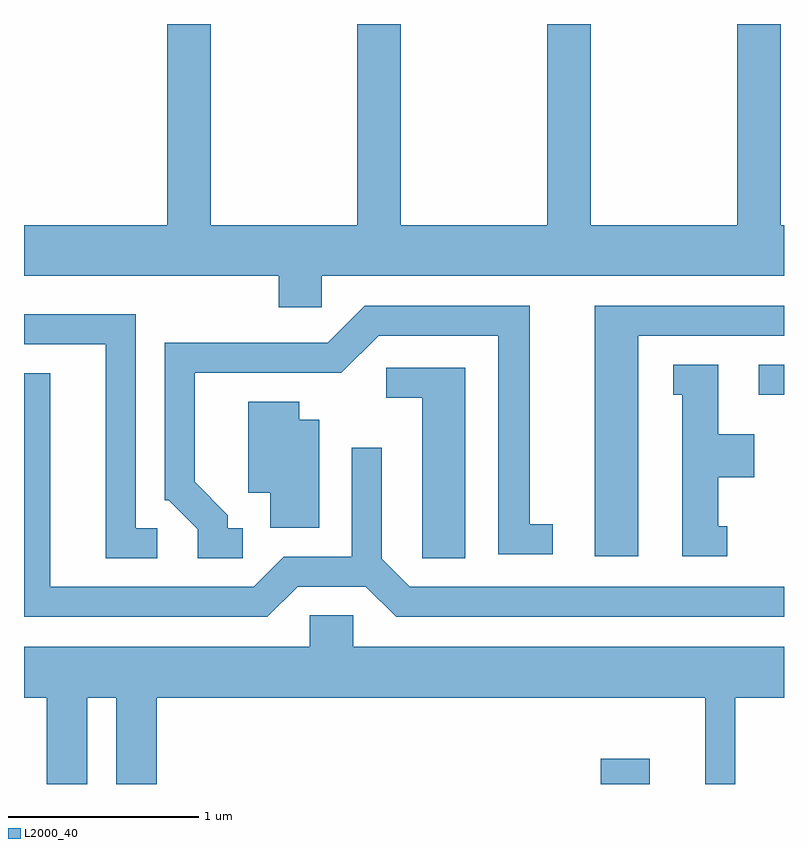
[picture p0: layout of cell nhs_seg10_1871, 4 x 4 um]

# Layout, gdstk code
import gdstk
lib = gdstk.Library(unit=1e-6, precision=1e-09)
def R(c, l, rs):  # rectangles x0, y0, x1, y1
    for r in rs: c.add(gdstk.rectangle(r[:2], r[2:], *l))
def P(c, l, *ps):  # polygons
    for p in ps: c.add(gdstk.Polygon(p, *l))
L2000_40 = (2000, 40)

nhs_seg10_1871 = lib.new_cell('nhs_seg10_1871')
R(nhs_seg10_1871, L2000_40, [(242.646,2164.522,242.904,2164.654), (243.478,2166.571,243.611,2166.729)])
P(nhs_seg10_1871, L2000_40, [(241.179,2167.196),(243.611,2167.196),(243.611,2167.464),(243.594,2167.464),(243.594,2168.522),(243.366,2168.522),(243.366,2167.464),(242.594,2167.464),(242.594,2168.522),(242.366,2168.522),(242.366,2167.464),(241.594,2167.464),(241.594,2168.522),(241.366,2168.522),(241.366,2167.464),(240.594,2167.464),(240.594,2168.522),(240.366,2168.522),(240.366,2167.464),(239.611,2167.464),(239.611,2167.196),(240.951,2167.196),(240.951,2167.031),(241.179,2167.031)],
  [(240.763,2165.869),(240.684,2165.869),(240.684,2165.937),(240.509,2166.112),(240.509,2166.686),(241.282,2166.686),(241.477,2166.881),(242.106,2166.881),(242.106,2165.731),(242.393,2165.731),(242.393,2165.889),(242.274,2165.889),(242.274,2167.039),(241.404,2167.039),(241.209,2166.844),(240.351,2166.844),(240.351,2166.016),(240.374,2166.016),(240.526,2165.864),(240.526,2165.711),(240.763,2165.711)],
  [(242.844,2166.881),(243.611,2166.881),(243.611,2167.039),(242.616,2167.039),(242.616,2165.721),(242.844,2165.721)],
  [(240.313,2165.869),(240.199,2165.869),(240.199,2166.994),(239.611,2166.994),(239.611,2166.836),(240.041,2166.836),(240.041,2165.711),(240.313,2165.711)],
  [(243.313,2165.879),(243.264,2165.879),(243.264,2166.136),(243.454,2166.136),(243.454,2166.364),(243.264,2166.364),(243.264,2166.729),(243.028,2166.729),(243.028,2166.571),(243.076,2166.571),(243.076,2165.721),(243.313,2165.721)],
  [(241.934,2166.714),(241.518,2166.714),(241.518,2166.556),(241.706,2166.556),(241.706,2165.711),(241.934,2165.711)],
  [(241.052,2165.561),(241.409,2165.561),(241.569,2165.401),(243.611,2165.401),(243.611,2165.559),(241.642,2165.559),(241.494,2165.707),(241.494,2166.293),(241.336,2166.293),(241.336,2165.719),(240.979,2165.719),(240.819,2165.559),(239.749,2165.559),(239.749,2166.684),(239.611,2166.684),(239.611,2165.401),(240.892,2165.401)],
  [(241.164,2166.439),(241.059,2166.439),(241.059,2166.534),(240.791,2166.534),(240.791,2166.056),(240.906,2166.056),(240.906,2165.871),(241.164,2165.871)],
  [(239.944,2164.976),(240.096,2164.976),(240.096,2164.522),(240.309,2164.522),(240.309,2164.976),(243.196,2164.976),(243.196,2164.522),(243.354,2164.522),(243.354,2164.976),(243.611,2164.976),(243.611,2165.244),(241.344,2165.244),(241.344,2165.409),(241.116,2165.409),(241.116,2165.244),(239.611,2165.244),(239.611,2164.976),(239.731,2164.976),(239.731,2164.522),(239.944,2164.522)])

lib.write_gds('nhs_seg10_1871.gds')
